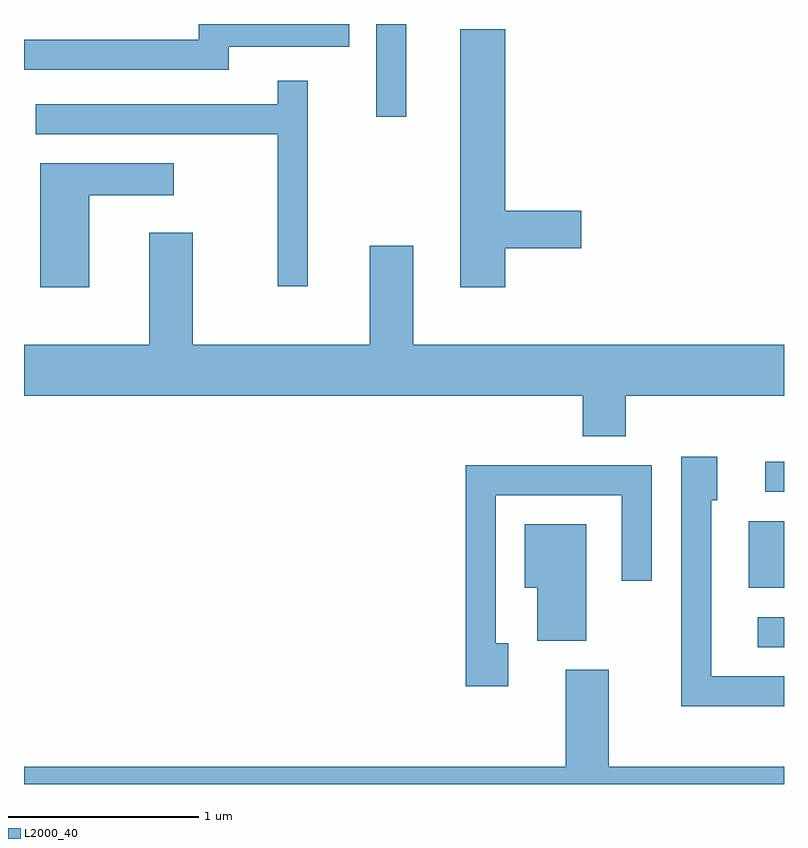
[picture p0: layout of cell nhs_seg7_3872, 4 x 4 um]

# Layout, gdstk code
import gdstk
lib = gdstk.Library(unit=1e-6, precision=1e-09)
def R(c, l, rs):  # rectangles x0, y0, x1, y1
    for r in rs: c.add(gdstk.rectangle(r[:2], r[2:], *l))
def P(c, l, *ps):  # polygons
    for p in ps: c.add(gdstk.Polygon(p, *l))
L2000_40 = (2000, 40)

nhs_seg7_3872 = lib.new_cell('nhs_seg7_3872')
R(nhs_seg7_3872, L2000_40, [(307.473,1732.971,307.611,1733.129), (307.426,1733.286,307.611,1733.634), (307.513,1733.791,307.611,1733.949), (305.466,1735.763,305.624,1736.252)])
P(nhs_seg7_3872, L2000_40, [(304.689,1736.131),(305.323,1736.131),(305.323,1736.252),(304.531,1736.252),(304.531,1736.169),(303.611,1736.169),(303.611,1736.011),(304.689,1736.011)],
  [(306.144,1735.071),(306.544,1735.071),(306.544,1735.269),(306.144,1735.269),(306.144,1736.224),(305.906,1736.224),(305.906,1734.866),(306.144,1734.866)],
  [(305.104,1735.953),(304.946,1735.953),(304.946,1735.829),(303.673,1735.829),(303.673,1735.671),(304.946,1735.671),(304.946,1734.873),(305.104,1734.873)],
  [(303.954,1735.351),(304.398,1735.351),(304.398,1735.519),(303.696,1735.519),(303.696,1734.866),(303.954,1734.866)],
  [(305.431,1735.084),(305.431,1734.564),(304.499,1734.564),(304.499,1735.154),(304.271,1735.154),(304.271,1734.564),(303.611,1734.564),(303.611,1734.296),(306.551,1734.296),(306.551,1734.081),(306.779,1734.081),(306.779,1734.296),(307.611,1734.296),(307.611,1734.564),(305.659,1734.564),(305.659,1735.084)],
  [(307.611,1732.819),(307.229,1732.819),(307.229,1733.746),(307.259,1733.746),(307.259,1733.974),(307.071,1733.974),(307.071,1732.661),(307.611,1732.661)],
  [(306.159,1732.994),(306.094,1732.994),(306.094,1733.771),(306.756,1733.771),(306.756,1733.323),(306.914,1733.323),(306.914,1733.929),(305.936,1733.929),(305.936,1732.766),(306.159,1732.766)],
  [(306.569,1733.619),(306.246,1733.619),(306.246,1733.286),(306.311,1733.286),(306.311,1733.006),(306.569,1733.006)],
  [(307.611,1732.344),(306.689,1732.344),(306.689,1732.854),(306.461,1732.854),(306.461,1732.344),(303.611,1732.344),(303.611,1732.252),(307.611,1732.252)])

lib.write_gds('nhs_seg7_3872.gds')
